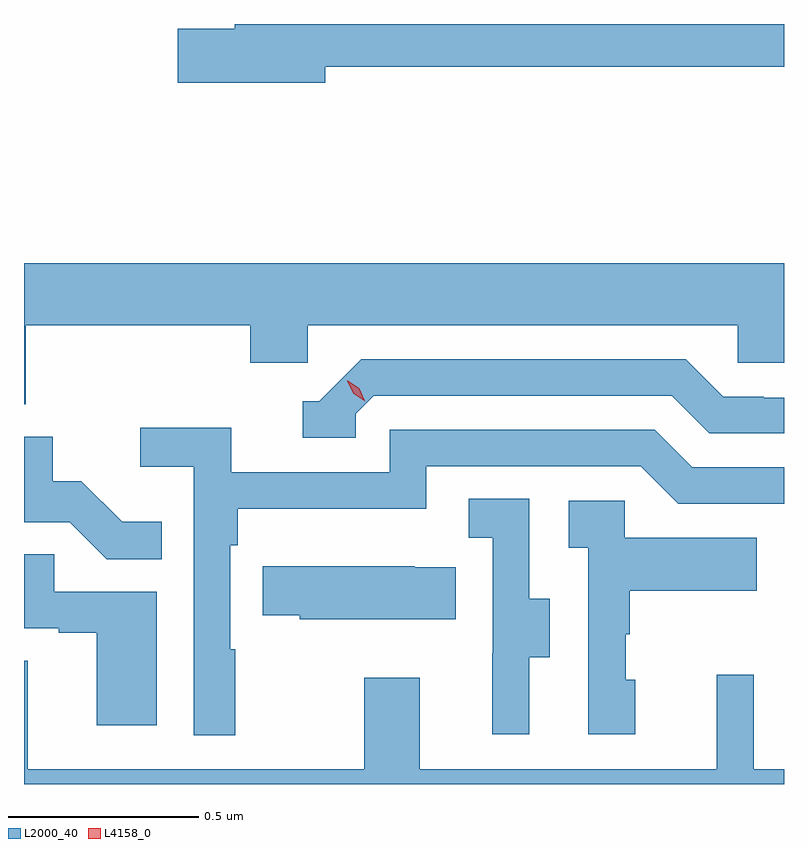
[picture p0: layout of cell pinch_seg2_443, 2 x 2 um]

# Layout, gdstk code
import gdstk
lib = gdstk.Library(unit=1e-6, precision=1e-09)
def P(c, l, *ps):  # polygons
    for p in ps: c.add(gdstk.Polygon(p, *l))
L2000_40 = (2000, 40)
L4158_0 = (4158, 0)

pinch_seg2_443 = lib.new_cell('pinch_seg2_443')
P(pinch_seg2_443, L2000_40, [(914.086,621.676),(915.293,621.676),(915.293,621.789),(913.847,621.789),(913.847,621.776),(913.698,621.776),(913.698,621.634),(914.086,621.634)],
  [(913.298,620.996),(913.889,620.996),(913.889,620.898),(914.04,620.898),(914.04,620.996),(915.171,620.996),(915.171,620.898),(915.293,620.898),(915.293,621.16),(913.293,621.16),(913.293,620.788),(913.298,620.788)],
  [(914.166,620.763),(914.214,620.811),(914.997,620.811),(915.096,620.712),(915.293,620.712),(915.293,620.805),(915.24,620.805),(915.24,620.808),(915.133,620.808),(915.034,620.907),(914.181,620.907),(914.07,620.796),(914.027,620.796),(914.027,620.7),(914.166,620.7)],
  [(913.849,620.144),(913.836,620.144),(913.836,620.417),(913.856,620.417),(913.856,620.513),(914.352,620.513),(914.352,620.625),(914.916,620.625),(915.015,620.526),(915.293,620.526),(915.293,620.622),(915.052,620.622),(914.953,620.721),(914.256,620.721),(914.256,620.61),(913.838,620.61),(913.838,620.726),(913.599,620.726),(913.599,620.624),(913.74,620.624),(913.74,619.917),(913.849,619.917)],
  [(913.655,620.479),(913.551,620.479),(913.444,620.586),(913.368,620.586),(913.368,620.703),(913.293,620.703),(913.293,620.478),(913.413,620.478),(913.511,620.38),(913.655,620.38)],
  [(914.623,620.122),(914.677,620.122),(914.677,620.277),(914.622,620.277),(914.622,620.54),(914.463,620.54),(914.463,620.437),(914.526,620.437),(914.526,620.133),(914.525,620.133),(914.525,619.92),(914.623,619.92)],
  [(914.902,620.064),(914.877,620.064),(914.877,620.183),(914.887,620.183),(914.887,620.297),(915.221,620.297),(915.221,620.437),(914.874,620.437),(914.874,620.535),(914.727,620.535),(914.727,620.411),(914.778,620.411),(914.778,619.92),(914.902,619.92)],
  [(913.642,620.295),(913.373,620.295),(913.373,620.393),(913.293,620.393),(913.293,620.199),(913.385,620.199),(913.385,620.187),(913.484,620.187),(913.484,619.944),(913.642,619.944)],
  [(914.429,620.359),(914.321,620.359),(914.321,620.362),(913.921,620.362),(913.921,620.233),(914.019,620.233),(914.019,620.222),(914.429,620.222)],
  [(915.116,620.077),(915.116,619.828),(914.335,619.828),(914.335,620.068),(914.188,620.068),(914.188,619.828),(913.303,619.828),(913.303,620.114),(913.293,620.114),(913.293,619.789),(915.293,619.789),(915.293,619.828),(915.213,619.828),(915.213,620.077)])
P(pinch_seg2_443, L4158_0, [(914.189,620.797),(914.159,620.817),(914.144,620.85),(914.144,620.85),(914.145,620.85),(914.175,620.83),(914.19,620.797),(914.19,620.797)])

lib.write_gds('pinch_seg2_443.gds')
